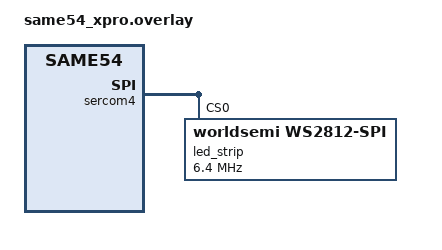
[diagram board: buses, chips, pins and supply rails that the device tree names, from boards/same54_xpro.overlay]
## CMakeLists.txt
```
# SPDX-License-Identifier: Apache-2.0

cmake_minimum_required(VERSION 3.20.0)

find_package(Zephyr REQUIRED HINTS $ENV{ZEPHYR_BASE})
project(led_strip_ws2812)

FILE(GLOB app_sources src/*.c)
target_sources(app PRIVATE ${app_sources})
```

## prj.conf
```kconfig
# Enable GPIO
CONFIG_GPIO=y

# Enable SPI (let devicetree handle the specific driver)
CONFIG_SPI=y

# Enable LED strip driver
CONFIG_LED_STRIP=y

# Thread configuration
CONFIG_NUM_PREEMPT_PRIORITIES=10
CONFIG_MAIN_STACK_SIZE=2048
CONFIG_SYSTEM_WORKQUEUE_STACK_SIZE=2048

# Enable thread monitoring (for debugging)
CONFIG_THREAD_MONITOR=y
CONFIG_THREAD_NAME=y
CONFIG_THREAD_STACK_INFO=y

# Logging - reduced to prevent message drops
CONFIG_LOG=y
CONFIG_LOG_DEFAULT_LEVEL=3
CONFIG_LOG_BUFFER_SIZE=4096
CONFIG_LOG_PROCESS_THREAD_STACK_SIZE=2048

# Math library for sine wave
CONFIG_NEWLIB_LIBC=y
CONFIG_NEWLIB_LIBC_FLOAT_PRINTF=y

# Increase heap if needed
CONFIG_HEAP_MEM_POOL_SIZE=8192

# Random number generator
CONFIG_ENTROPY_GENERATOR=y
CONFIG_TEST_RANDOM_GENERATOR=y

# Shell support for interactive commands
CONFIG_SHELL=y
CONFIG_SHELL_BACKEND_SERIAL=y
CONFIG_SHELL_CMD_BUFF_SIZE=256
CONFIG_SHELL_PRINTF_BUFF_SIZE=256

# Thread runtime statistics
CONFIG_THREAD_RUNTIME_STATS=y
CONFIG_SCHED_THREAD_USAGE=y

# Increased console buffer for shell output
CONFIG_CONSOLE=y
CONFIG_UART_CONSOLE=y
```

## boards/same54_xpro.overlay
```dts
/*
 * WS2812 LED strip overlay for SAM E54 Xplained Pro
 * Uses SPI (SERCOM4) for timing generation
 *
 * SPI Mode 0 (CPOL=0, CPHA=0) ensures MOSI idles LOW
 * which is required for WS2812 communication
 */

#include <zephyr/dt-bindings/led/led.h>

/ {
	aliases {
		led-strip = &led_strip;
	};
};

/* Custom pinctrl to ensure PB27 (MOSI) has no pull-up */
&pinctrl {
	sercom4_spi_ws2812: sercom4_spi_ws2812 {
		group1 {
			pinmux = <PB26D_SERCOM4_PAD1>,  /* SCK */
				 <PB27D_SERCOM4_PAD0>,  /* MOSI - no pull resistor */
				 <PB29D_SERCOM4_PAD3>;  /* MISO */
			/* No bias property = no pull-up/pull-down (default state) */
		};
	};
};

&sercom4 {
	status = "okay";
	compatible = "atmel,sam0-spi";
	dipo = <3>;  /* 0 MISO on PAD3 (PB29) */
	dopo = <0>;  /* 1 MOSI on PAD0 (PB27), SCK on PAD1 (PB26) */
	#address-cells = <1>;
	#size-cells = <0>;

	pinctrl-0 = <&sercom4_spi_ws2812>;
	pinctrl-names = "default";

	led_strip: ws2812@0 {
		compatible = "worldsemi,ws2812-spi";

		reg = <0>;
		spi-max-frequency = <6400000>;  /* 6.4 MHz for WS2812 timing */

		chain-length = <256>;  /* Testing with 5 LEDs first */

		color-mapping = <LED_COLOR_ID_GREEN
				 LED_COLOR_ID_RED
				 LED_COLOR_ID_BLUE>;

		reset-delay = <1000>;

		/* SPI timing frames for WS2812 protocol */
		/* At 6.4MHz: each bit is ~156ns */
		/* WS2812 timing: 0 = 400ns H + 850ns L, 1 = 800ns H + 450ns L */
		/* Standard patterns work correctly - line should idle LOW naturally */
		//spi-one-frame = <0xf0>;   /* 0b11110000: ~625ns high, ~625ns low */
		//spi-zero-frame = <0xc0>;  /* 0b11000000: ~312ns high, ~938ns low */
		spi-one-frame =  <0X78>;   /* 0b11110000: ~625ns high, ~625ns low */
		spi-zero-frame = <0X60>;  /* 0b11000000: ~312ns high, ~938ns low */
	};
};

/* Ensure ports are enabled */
&porta {
    status = "okay";
};

&portb {
    status = "okay";
};
```

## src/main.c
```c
/*
 * Multi-Threaded Quadrant Animation Demo
 *
 * This demo showcases Zephyr RTOS threading concepts through visual animations
 * on a 16x16 WS2812 LED matrix. Perfect for workshops and educational purposes.
 *
 * Features:
 * - 4 independent animation threads (one per quadrant)
 * - Priority-based scheduling visualization
 * - Thread state monitoring via LED borders
 * - Interactive shell commands for runtime control
 * - CPU load simulation
 *
 * To use this demo:
 * 1. Rename this file to main.c (backup your current main.c first)
 * 2. Build and flash to your board
 * 3. Connect via serial terminal (115200 baud)
 * 4. Use shell commands to interact with the demo
 */

#include <zephyr/kernel.h>
#include <zephyr/device.h>
#include <zephyr/logging/log.h>
#include "ws2812.h"
#include "quadrant_simple_test.h"  // Using simple test instead

LOG_MODULE_REGISTER(main, LOG_LEVEL_INF);

int main(void) {
    int ret;

    LOG_INF("===========================================");
    LOG_INF("  Zephyr RTOS Thread Priority Demo");
    LOG_INF("  Board: SAM E54 Xplained Pro");
    LOG_INF("  16x16 WS2812 LED Matrix");
    LOG_INF("===========================================");

    // Initialize WS2812 driver
    ret = ws2812_init();
    if (ret != 0) {
        LOG_ERR("Failed to initialize WS2812: %d", ret);
        return ret;
    }

    // Set brightness to 50% for safety
    ws2812_set_brightness(255);
    LOG_INF("WS2812 initialized (brightness: 50%%)");

    // Clear display
    ws2812_clear();
    ws2812_update();

    // Initialize and start the SIMPLE test (two balls)
    simple_test_init();

    LOG_INF("");
    LOG_INF("Demo running! Press SW0 to change Q1 priority");
    LOG_INF("");

    // Main thread just sleeps
    while (1) {
        k_msleep(60000);  // Just sleep
    }

    return 0;
}
```

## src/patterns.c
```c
#include "ws2812.h"
#include <math.h>
#include <stdlib.h>

#ifndef M_PI
#define M_PI 3.14159265358979323846
#endif

// Pattern 1: Scrolling wave
static int wave_offset = 0;

void pattern_wave(void) {
    for (int y = 0; y < MATRIX_HEIGHT; y++) {
        for (int x = 0; x < MATRIX_WIDTH; x++) {
            // Create sine wave pattern
            int wave_pos = (x + wave_offset) % MATRIX_WIDTH;
            float sine_val = sin(wave_pos * M_PI / 8.0);
            uint8_t brightness = (uint8_t)(128 + 127 * sine_val);

            // Red wave
            rgb_t color = {brightness, brightness, 0};
            ws2812_set_pixel(x, y, color);
        }
    }
    wave_offset = (wave_offset + 1) % MATRIX_WIDTH;
}

// Pattern 2: Bouncing ball
static float ball_x = 8.0, ball_y = 8.0;
static float ball_vx = 0.3, ball_vy = 0.2;

void pattern_ball(void) {
    // Update ball physics
    ball_x += ball_vx;
    ball_y += ball_vy;
    
    // Bounce off walls
    if (ball_x <= 1 || ball_x >= MATRIX_WIDTH - 2) {
        ball_vx = -ball_vx;
        ball_x = (ball_x <= 1) ? 1.1 : MATRIX_WIDTH - 2.1;
    }
    if (ball_y <= 1 || ball_y >= MATRIX_HEIGHT - 2) {
        ball_vy = -ball_vy;
        ball_y = (ball_y <= 1) ? 1.1 : MATRIX_HEIGHT - 2.1;
    }
    
    // Draw ball (3x3 blue)
    for (int dy = -1; dy <= 1; dy++) {
        for (int dx = -1; dx <= 1; dx++) {
            int px = (int)(ball_x + 0.5) + dx;
            int py = (int)(ball_y + 0.5) + dy;

            if (px >= 0 && px < MATRIX_WIDTH && py >= 0 && py < MATRIX_HEIGHT) {
                rgb_t current = ws2812_get_pixel(px, py);
                // Add blue, keep other colors
                current.b = 255;
                ws2812_set_pixel(px, py, current);
            }
        }
    }
}

// Pattern 3: Breathing border
static uint8_t breath_brightness = 0;
static int8_t breath_direction = 1;

void pattern_breath(void) {
    // Update brightness
    breath_brightness += breath_direction * 5;
    
    if (breath_brightness >= 250) {
        breath_brightness = 250;
        breath_direction = -1;
    } else if (breath_brightness <= 5) {
        breath_brightness = 5;
        breath_direction = 1;
    }
    
    // Draw green breathing border
    // Top and bottom edges
    for (int x = 0; x < MATRIX_WIDTH; x++) {
        rgb_t current_top = ws2812_get_pixel(x, 0);
        rgb_t current_bottom = ws2812_get_pixel(x, MATRIX_HEIGHT - 1);

        current_top.g = breath_brightness;
        current_bottom.g = breath_brightness;

        ws2812_set_pixel(x, 0, current_top);
        ws2812_set_pixel(x, MATRIX_HEIGHT - 1, current_bottom);
    }
    
    // Left and right edges
    for (int y = 1; y < MATRIX_HEIGHT - 1; y++) {
        rgb_t current_left = ws2812_get_pixel(0, y);
        rgb_t current_right = ws2812_get_pixel(MATRIX_WIDTH - 1, y);
        
        current_left.g = breath_brightness;
        current_right.g = breath_brightness;
        
        ws2812_set_pixel(0, y, current_left);
        ws2812_set_pixel(MATRIX_WIDTH - 1, y, current_right);
    }
}

// Pattern 4: Random twinkle
void pattern_twinkle(void) {
    // Add random white sparkles
    for (int i = 0; i < 5; i++) {
        int x = rand() % MATRIX_WIDTH;
        int y = rand() % MATRIX_HEIGHT;
        uint8_t brightness = 128 + (rand() % 128);
        
        rgb_t current = ws2812_get_pixel(x, y);
        
        // Add white
        uint8_t add = brightness / 3;
        current.r = (current.r + add > 255) ? 255 : current.r + add;
        current.g = (current.g + add > 255) ? 255 : current.g + add;
        current.b = (current.b + add > 255) ? 255 : current.b + add;
        
        ws2812_set_pixel(x, y, current);
    }
    
    // Fade all pixels
    for (int y = 0; y < MATRIX_HEIGHT; y++) {
        for (int x = 0; x < MATRIX_WIDTH; x++) {
            rgb_t current = ws2812_get_pixel(x, y);
            
            current.r = (uint8_t)(current.r * 0.95);
            current.g = (uint8_t)(current.g * 0.95);
            current.b = (uint8_t)(current.b * 0.95);
            
            ws2812_set_pixel(x, y, current);
        }
    }
}

// ISR Pattern: Flash burst (yellow)
void pattern_flash_burst(void) {
    for (int frame = 0; frame < 10; frame++) {
        uint8_t brightness = 255 - (frame * 25);
        
        k_mutex_lock(&matrix_mutex, K_FOREVER);
        
        // Fill entire matrix with yellow
        for (int y = 0; y < MATRIX_HEIGHT; y++) {
            for (int x = 0; x < MATRIX_WIDTH; x++) {
                rgb_t yellow = {brightness, brightness, 0};
                ws2812_set_pixel(x, y, yellow);
            }
        }
        
        ws2812_update();
        k_mutex_unlock(&matrix_mutex);
        
        k_msleep(30);
    }
}

// Pattern 5: Priority Visualizer
// Each row represents a priority level, shows scheduling activity
#define NUM_PRIORITY_LEVELS 8
static uint8_t priority_activity[NUM_PRIORITY_LEVELS] = {0};
static uint8_t priority_colors[NUM_PRIORITY_LEVELS][3] = {
    {255, 0, 0},     // Priority 0: Red (highest)
    {255, 128, 0},   // Priority 1: Orange
    {255, 255, 0},   // Priority 2: Yellow
    {0, 255, 0},     // Priority 3: Green
    {0, 255, 255},   // Priority 4: Cyan
    {0, 0, 255},     // Priority 5: Blue
    {128, 0, 255},   // Priority 6: Purple
    {255, 0, 255}    // Priority 7: Magenta (lowest)
};

void pattern_priority_visualizer(void) {
    // Simulate thread activity at different priority levels
    // In a real implementation, this would read actual thread states

    // Decay existing activity
    for (int p = 0; p < NUM_PRIORITY_LEVELS; p++) {
        if (priority_activity[p] > 0) {
            priority_activity[p] = (uint8_t)(priority_activity[p] * 0.9);
        }
    }

    // Simulate random thread wakeups at different priorities
    // Higher priority threads are more active (lower numbers = higher priority)
    for (int p = 0; p < NUM_PRIORITY_LEVELS; p++) {
        // Higher priority = more likely to be active
        int threshold = 50 + (p * 30);  // 50, 80, 110, 140, etc.
        if ((rand() % 255) > threshold) {
            priority_activity[p] = 255;
        }
    }

    // Draw visualization: each row represents a priority
    // Two rows per priority level for 16-row matrix
    for (int p = 0; p < NUM_PRIORITY_LEVELS; p++) {
        int row1 = p * 2;
        int row2 = p * 2 + 1;

        if (row1 >= MATRIX_HEIGHT) break;

        // Create moving bar effect based on activity
        uint8_t brightness = priority_activity[p];
        int bar_length = (brightness * MATRIX_WIDTH) / 255;

        for (int x = 0; x < MATRIX_WIDTH; x++) {
            rgb_t color;
            if (x < bar_length) {
                // Active portion - full color
                color.r = (priority_colors[p][0] * brightness) / 255;
                color.g = (priority_colors[p][1] * brightness) / 255;
                color.b = (priority_colors[p][2] * brightness) / 255;
            } else {
                // Inactive portion - dim
                color.r = priority_colors[p][0] / 10;
                color.g = priority_colors[p][1] / 10;
                color.b = priority_colors[p][2] / 10;
            }

            ws2812_set_pixel(x, row1, color);
            if (row2 < MATRIX_HEIGHT) {
                ws2812_set_pixel(x, row2, color);
            }
        }
    }
}

// Pattern 6: Rainbow Sweep
// Simple rainbow gradient that scrolls horizontally
static int rainbow_offset = 0;

// Helper function: Convert HSV to RGB
// H: 0-255, S: 0-255, V: 0-255
rgb_t hsv_to_rgb(uint8_t h, uint8_t s, uint8_t v) {
    rgb_t rgb;
    uint8_t region, remainder, p, q, t;

    if (s == 0) {
        rgb.r = v;
        rgb.g = v;
        rgb.b = v;
        return rgb;
    }

    region = h / 43;
    remainder = (h - (region * 43)) * 6;

    p = (v * (255 - s)) >> 8;
    q = (v * (255 - ((s * remainder) >> 8))) >> 8;
    t = (v * (255 - ((s * (255 - remainder)) >> 8))) >> 8;

    switch (region) {
        case 0:
            rgb.r = v; rgb.g = t; rgb.b = p;
            break;
        case 1:
            rgb.r = q; rgb.g = v; rgb.b = p;
            break;
        case 2:
            rgb.r = p; rgb.g = v; rgb.b = t;
            break;
        case 3:
            rgb.r = p; rgb.g = q; rgb.b = v;
            break;
        case 4:
            rgb.r = t; rgb.g = p; rgb.b = v;
            break;
        default:
            rgb.r = v; rgb.g = p; rgb.b = q;
            break;
    }

    return rgb;
}

void pattern_rainbow_sweep(void) {
    // Fill entire matrix with rainbow gradient
    for (int y = 0; y < MATRIX_HEIGHT; y++) {
        for (int x = 0; x < MATRIX_WIDTH; x++) {
            // Calculate hue based on x position and offset
            // Each column gets a different color from the rainbow
            uint8_t hue = ((x * 255) / MATRIX_WIDTH + rainbow_offset) % 256;

            // Convert HSV to RGB (full saturation and value)
            rgb_t color = hsv_to_rgb(hue, 255, 255);

            ws2812_set_pixel(x, y, color);
        }
    }

    // Scroll the rainbow to the right
    rainbow_offset = (rainbow_offset + 2) % 256;
}
```

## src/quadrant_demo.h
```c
#ifndef QUADRANT_DEMO_H
#define QUADRANT_DEMO_H

#include <zephyr/kernel.h>
#include <zephyr/shell/shell.h>
#include "ws2812.h"

// Quadrant definitions for 16x16 matrix
#define QUAD_WIDTH  8
#define QUAD_HEIGHT 8

// Thread priorities (lower number = higher priority in Zephyr)
#define PRIORITY_QUAD1 5  // High priority - smooth wave
#define PRIORITY_QUAD2 3  // Medium-high - bouncing ball
#define PRIORITY_QUAD3 7  // Low priority - rotating spiral
#define PRIORITY_QUAD4 1  // Lowest - random sparkles
#define PRIORITY_MONITOR 4  // Thread state monitor
#define PRIORITY_DISPLAY 6  // Display update thread

// Thread states for visualization
typedef enum {
    THREAD_STATE_RUNNING = 0,   // Green
    THREAD_STATE_READY = 1,     // Yellow
    THREAD_STATE_SLEEPING = 2,  // Red
    THREAD_STATE_SUSPENDED = 3  // Blue
} thread_state_viz_t;

// Quadrant animation functions
void quadrant1_wave_animation(void);
void quadrant2_bounce_animation(void);
void quadrant3_spiral_animation(void);
void quadrant4_sparkle_animation(void);

// Thread state monitoring
void update_thread_state_border(void);
thread_state_viz_t get_thread_state(struct k_thread *thread);

// Thread entry points
void quad1_thread_entry(void *a, void *b, void *c);
void quad2_thread_entry(void *a, void *b, void *c);
void quad3_thread_entry(void *a, void *b, void *c);
void quad4_thread_entry(void *a, void *b, void *c);
void monitor_thread_entry(void *a, void *b, void *c);
void display_thread_entry(void *a, void *b, void *c);

// Shell command handlers
int cmd_thread_suspend(const struct shell *sh, size_t argc, char **argv);
int cmd_thread_resume(const struct shell *sh, size_t argc, char **argv);
int cmd_thread_stats(const struct shell *sh, size_t argc, char **argv);
int cmd_thread_boost(const struct shell *sh, size_t argc, char **argv);
int cmd_cpu_load(const struct shell *sh, size_t argc, char **argv);

// External thread references for shell commands
extern struct k_thread quad1_thread_data;
extern struct k_thread quad2_thread_data;
extern struct k_thread quad3_thread_data;
extern struct k_thread quad4_thread_data;

// Thread state tracking
extern volatile bool thread_running[4];
extern volatile uint32_t thread_cycle_count[4];

// CPU load simulation
extern volatile bool cpu_load_active;

// Main initialization function
void quadrant_demo_init(void);

#endif /* QUADRANT_DEMO_H */
```

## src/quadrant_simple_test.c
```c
/*
 * Simple Single Quadrant Test - Based on working pattern_ball
 * Tests one bouncing ball in Quadrant 1 only
 * Now with SW0 button to cycle thread priorities!
 */

#include "quadrant_demo.h"
#include <zephyr/logging/log.h>
#include <zephyr/device.h>
#include <zephyr/devicetree.h>
#include <zephyr/drivers/gpio.h>
#include <math.h>

LOG_MODULE_REGISTER(quad_simple, LOG_LEVEL_INF);

// Button configuration - SW0 on SAM E54 Xplained Pro
#define SW0_NODE DT_ALIAS(sw0)
#if DT_NODE_HAS_STATUS(SW0_NODE, okay)
static const struct gpio_dt_spec button = GPIO_DT_SPEC_GET(SW0_NODE, gpios);
static struct gpio_callback button_cb_data;

// Priority cycling - Zephyr uses lower numbers for higher priority
// We'll cycle through: 2 (highest), 4 (high), 6 (medium), 8 (low)
static const int priority_levels[] = {2, 4, 6, 8};
static const char *priority_names[] = {"HIGHEST", "HIGH", "MEDIUM", "LOW"};
static const float speed_levels[] = {1.5f, 1.0f, 0.8f, 1.2f};  // Match Q2, unique, Q3, Q4 speeds
static int current_priority_index = 1;  // Start at priority 4 (HIGH)
static volatile bool priority_changed = false;

// Button press handler
void button_pressed(const struct device *dev, struct gpio_callback *cb, uint32_t pins)
{
    // Cycle to next priority level
    current_priority_index = (current_priority_index + 1) % 4;
    priority_changed = true;
    LOG_INF("Button pressed! Switching to priority %s (%d)",
            priority_names[current_priority_index],
            priority_levels[current_priority_index]);
}
#endif

// Simple ball states for quadrant 1 and 2 (no trail buffer)
static float ball1_x = 4.0f;
static float ball1_y = 4.0f;
static float ball1_vx = 0.3f;
static float ball1_vy = 0.25f;
static float ball1_speed = 1.0f;  // Speed multiplier (1.0 = normal)

static float ball2_x = 4.0f;
static float ball2_y = 4.0f;
static float ball2_vx = 0.3f;
static float ball2_vy = 0.25f;
static float ball2_speed = 1.5f;  // 1.5x faster

static float ball3_x = 4.0f;
static float ball3_y = 4.0f;
static float ball3_vx = 0.3f;
static float ball3_vy = 0.25f;
static float ball3_speed = 0.8f;  // 0.8x speed (slower)

static float ball4_x = 4.0f;
static float ball4_y = 4.0f;
static float ball4_vx = 0.3f;
static float ball4_vy = 0.25f;
static float ball4_speed = 1.2f;  // 1.2x faster

// Quadrant colors (rgb_t struct is {g, r, b} order, but LEDs expect BGR order)
// To get specific colors with BGR LEDs: B=1st byte, G=2nd byte, R=3rd byte
// So rgb_t{g, r, b} where r displays as green, b displays as red, g displays as blue
static rgb_t get_priority_color(int priority_level) {
    // Q1 uses priority level 2/4/6/8 to get dynamic colors based on button presses
    // Q2, Q3, Q4 use fixed values (10, 11, 12) to get their static colors
    const rgb_t colors[] = {
        {0, 0, 0},         // 0: Not used
        {0, 0, 0},         // 1: Not used
        {32, 32, 0},       // 2: Q1 at HIGHEST - CYAN {g=32(blue), r=32(green), b=0(red)} = CYAN on display
        {0, 0, 0},         // 3: Not used
        {0, 64, 0},        // 4: Q1 at HIGH - GREEN {g=0(blue), r=64(green), b=0(red)} = GREEN on display
        {0, 0, 0},         // 5: Not used
        {0, 32, 32},       // 6: Q1 at MEDIUM - YELLOW {g=0(blue), r=32(green), b=32(red)} = YELLOW on display
        {0, 0, 0},         // 7: Not used
        {0, 0, 64},        // 8: Q1 at LOW - RED {g=0(blue), r=0(green), b=64(red)} = RED on display
        {0, 0, 0},         // 9: Not used
        {32, 32, 0},       // 10: Q2 - CYAN (matches Q1 highest) {g=32(blue), r=32(green), b=0(red)} = CYAN on display
        {0, 32, 32},       // 11: Q3 - YELLOW {g=0(blue), r=32(green), b=32(red)} = YELLOW on display
        {64, 0, 0},        // 12: Q4 - BLUE {g=64(blue), r=0(green), b=0(red)} = BLUE on display
    };

    if (priority_level >= 0 && priority_level < 13) {
        return colors[priority_level];
    }
    return colors[0];
}

void simple_quad1_animation(int priority) {
    // Update physics with speed multiplier
    ball1_x += ball1_vx * ball1_speed;
    ball1_y += ball1_vy * ball1_speed;

    // Bounce off quadrant walls (8x8, ball is 2x2 so max is 6.0)
    if (ball1_x <= 0.5f || ball1_x >= 6.5f) {
        ball1_vx = -ball1_vx;
        ball1_x = (ball1_x <= 0.5f) ? 0.6f : 6.4f;
    }
    if (ball1_y <= 0.5f || ball1_y >= 6.5f) {
        ball1_vy = -ball1_vy;
        ball1_y = (ball1_y <= 0.5f) ? 0.6f : 6.4f;
    }

    // Get color based on priority
    rgb_t ball_color = get_priority_color(priority);

    // Clear ONLY the old ball position (4 pixels) instead of entire quadrant
    // This prevents overwriting other quadrants when we call ws2812_update()
    static int last_x = -1, last_y = -1;
    if (last_x >= 0) {
        for (int dy = 0; dy <= 1; dy++) {
            for (int dx = 0; dx <= 1; dx++) {
                int px = last_x + dx;
                int py = last_y + dy;
                if (px >= 0 && px < 8 && py >= 0 && py < 8) {
                    ws2812_set_pixel(px, py, (rgb_t){0, 0, 0});
                }
            }
        }
    }
    last_x = (int)(ball1_x);
    last_y = (int)(ball1_y);

    // Draw ball (2x2) in quadrant 1
    for (int dy = 0; dy <= 1; dy++) {
        for (int dx = 0; dx <= 1; dx++) {
            int px = (int)(ball1_x) + dx;
            int py = (int)(ball1_y) + dy;

            if (px >= 0 && px < 8 && py >= 0 && py < 8) {
                ws2812_set_pixel(px, py, ball_color);
            }
        }
    }
}

void simple_quad2_animation(int priority) {
    // Update physics with speed multiplier
    ball2_x += ball2_vx * ball2_speed;
    ball2_y += ball2_vy * ball2_speed;

    // Bounce off quadrant walls (8x8, ball is 2x2 so max is 6.0)
    if (ball2_x <= 0.5f || ball2_x >= 6.5f) {
        ball2_vx = -ball2_vx;
        ball2_x = (ball2_x <= 0.5f) ? 0.6f : 6.4f;
    }
    if (ball2_y <= 0.5f || ball2_y >= 6.5f) {
        ball2_vy = -ball2_vy;
        ball2_y = (ball2_y <= 0.5f) ? 0.6f : 6.4f;
    }

    // Get color based on priority
    rgb_t ball_color = get_priority_color(priority);

    // Clear ONLY the old ball position (4 pixels) instead of entire quadrant
    // This prevents overwriting other quadrants when we call ws2812_update()
    static int last_x = -1, last_y = -1;
    if (last_x >= 0) {
        for (int dy = 0; dy <= 1; dy++) {
            for (int dx = 0; dx <= 1; dx++) {
                int px = last_x + dx + 8;
                int py = last_y + dy;
                if (px >= 8 && px < 16 && py >= 0 && py < 8) {
                    ws2812_set_pixel(px, py, (rgb_t){0, 0, 0});
                }
            }
        }
    }
    last_x = (int)(ball2_x);
    last_y = (int)(ball2_y);

    // Draw ball (2x2) in quadrant 2
    for (int dy = 0; dy <= 1; dy++) {
        for (int dx = 0; dx <= 1; dx++) {
            int px = (int)(ball2_x) + dx + 8;  // +8 offset for quadrant 2
            int py = (int)(ball2_y) + dy;

            if (px >= 8 && px < 16 && py >= 0 && py < 8) {
                ws2812_set_pixel(px, py, ball_color);
            }
        }
    }
}

void simple_quad3_animation(int priority) {
    // Update physics with speed multiplier
    ball3_x += ball3_vx * ball3_speed;
    ball3_y += ball3_vy * ball3_speed;

    // Bounce off quadrant walls (8x8, ball is 2x2 so max is 6.0)
    if (ball3_x <= 0.5f || ball3_x >= 6.5f) {
        ball3_vx = -ball3_vx;
        ball3_x = (ball3_x <= 0.5f) ? 0.6f : 6.4f;
    }
    if (ball3_y <= 0.5f || ball3_y >= 6.5f) {
        ball3_vy = -ball3_vy;
        ball3_y = (ball3_y <= 0.5f) ? 0.6f : 6.4f;
    }

    // Get color based on priority
    rgb_t ball_color = get_priority_color(priority);

    // Clear ONLY the old ball position (4 pixels) instead of entire quadrant
    // This prevents overwriting other quadrants when we call ws2812_update()
    static int last_x = -1, last_y = -1;
    if (last_x >= 0) {
        for (int dy = 0; dy <= 1; dy++) {
            for (int dx = 0; dx <= 1; dx++) {
                int px = last_x + dx;
                int py = last_y + dy + 8;
                if (px >= 0 && px < 8 && py >= 8 && py < 16) {
                    ws2812_set_pixel(px, py, (rgb_t){0, 0, 0});
                }
            }
        }
    }
    last_x = (int)(ball3_x);
    last_y = (int)(ball3_y);

    // Draw ball (2x2) in quadrant 3
    for (int dy = 0; dy <= 1; dy++) {
        for (int dx = 0; dx <= 1; dx++) {
            int px = (int)(ball3_x) + dx;  // No x offset for left side
            int py = (int)(ball3_y) + dy + 8;  // +8 offset for bottom half

            if (px >= 0 && px < 8 && py >= 8 && py < 16) {
                ws2812_set_pixel(px, py, ball_color);
            }
        }
    }
}

void simple_quad4_animation(int priority) {
    // Update physics with speed multiplier
    ball4_x += ball4_vx * ball4_speed;
    ball4_y += ball4_vy * ball4_speed;

    // Bounce off quadrant walls (8x8, ball is 2x2 so max is 6.0)
    if (ball4_x <= 0.5f || ball4_x >= 6.5f) {
        ball4_vx = -ball4_vx;
        ball4_x = (ball4_x <= 0.5f) ? 0.6f : 6.4f;
    }
    if (ball4_y <= 0.5f || ball4_y >= 6.5f) {
        ball4_vy = -ball4_vy;
        ball4_y = (ball4_y <= 0.5f) ? 0.6f : 6.4f;
    }

    // Get color based on priority
    rgb_t ball_color = get_priority_color(priority);

    // Clear ONLY the old ball position (4 pixels) instead of entire quadrant
    // This prevents overwriting other quadrants when we call ws2812_update()
    static int last_x = -1, last_y = -1;
    if (last_x >= 0) {
        for (int dy = 0; dy <= 1; dy++) {
            for (int dx = 0; dx <= 1; dx++) {
                int px = last_x + dx + 8;
                int py = last_y + dy + 8;
                if (px >= 8 && px < 16 && py >= 8 && py < 16) {
                    ws2812_set_pixel(px, py, (rgb_t){0, 0, 0});
                }
            }
        }
    }
    last_x = (int)(ball4_x);
    last_y = (int)(ball4_y);

    // Draw ball (2x2) in quadrant 4
    for (int dy = 0; dy <= 1; dy++) {
        for (int dx = 0; dx <= 1; dx++) {
            int px = (int)(ball4_x) + dx + 8;  // +8 x offset for right side
            int py = (int)(ball4_y) + dy + 8;  // +8 y offset for bottom half

            if (px >= 8 && px < 16 && py >= 8 && py < 16) {
                ws2812_set_pixel(px, py, ball_color);
            }
        }
    }
}

// Quadrant 1 thread
K_THREAD_STACK_DEFINE(simple_quad1_stack, 1024);
struct k_thread simple_quad1_thread_data;

void simple_quad1_thread_entry(void *a, void *b, void *c) {
    LOG_INF("Quadrant 1 thread started - priority demo ball");

    while (1) {
        // Check if priority changed and update this thread's priority AND speed
        if (priority_changed) {
            k_thread_priority_set(k_current_get(), priority_levels[current_priority_index]);
            ball1_speed = speed_levels[current_priority_index];  // Update speed to match priority

            // Copy position and velocity from matching quadrant
            switch (priority_levels[current_priority_index]) {
                case 2:  // Match Q2
                    ball1_x = ball2_x;
                    ball1_y = ball2_y;
                    ball1_vx = ball2_vx;
                    ball1_vy = ball2_vy;
                    break;
                case 6:  // Match Q3
                    ball1_x = ball3_x;
                    ball1_y = ball3_y;
                    ball1_vx = ball3_vx;
                    ball1_vy = ball3_vy;
                    break;
                case 8:  // Match Q4
                    ball1_x = ball4_x;
                    ball1_y = ball4_y;
                    ball1_vx = ball4_vx;
                    ball1_vy = ball4_vy;
                    break;
                // Priority 4 keeps its own unique pattern
            }

            priority_changed = false;  // Reset flag after applying
            LOG_INF("Q1 now at priority %s (%d), speed %.1fx - watch the ball color and speed change!",
                    priority_names[current_priority_index],
                    priority_levels[current_priority_index],
                    ball1_speed);
        }

        k_mutex_lock(&matrix_mutex, K_FOREVER);
        // Pass current priority level to animation for dynamic color
        simple_quad1_animation(priority_levels[current_priority_index]);
        // Display thread handles ws2812_update() now
        k_mutex_unlock(&matrix_mutex);
        k_msleep(50);  // 20 FPS - speed controlled by ball1_speed multiplier
    }
}

// Quadrant 2 thread
K_THREAD_STACK_DEFINE(simple_quad2_stack, 1024);
struct k_thread simple_quad2_thread_data;

void simple_quad2_thread_entry(void *a, void *b, void *c) {
    LOG_INF("Quadrant 2 thread started - fixed priority (highest=2)");

    while (1) {
        k_mutex_lock(&matrix_mutex, K_FOREVER);
        simple_quad2_animation(10);  // Fixed cyan color (index 10)
        // Display thread handles ws2812_update() now
        k_mutex_unlock(&matrix_mutex);
        k_msleep(50);  // 20 FPS - speed controlled by ball2_speed multiplier
    }
}

// Quadrant 3 thread
K_THREAD_STACK_DEFINE(simple_quad3_stack, 1024);
struct k_thread simple_quad3_thread_data;

void simple_quad3_thread_entry(void *a, void *b, void *c) {
    LOG_INF("Quadrant 3 thread started - fixed priority (medium=6)");

    while (1) {
        k_mutex_lock(&matrix_mutex, K_FOREVER);
        simple_quad3_animation(11);  // Fixed yellow color (index 11)
        // Display thread handles ws2812_update() now
        k_mutex_unlock(&matrix_mutex);
        k_msleep(50);  // 20 FPS - speed controlled by ball3_speed multiplier
    }
}

// Quadrant 4 thread
K_THREAD_STACK_DEFINE(simple_quad4_stack, 1024);
struct k_thread simple_quad4_thread_data;

void simple_quad4_thread_entry(void *a, void *b, void *c) {
    LOG_INF("Quadrant 4 thread started - fixed priority (lowest=8)");

    while (1) {
        k_mutex_lock(&matrix_mutex, K_FOREVER);
        simple_quad4_animation(12);  // Fixed blue color (index 12)
        // Display thread handles ws2812_update() now
        k_mutex_unlock(&matrix_mutex);
        k_msleep(50);  // 20 FPS - speed controlled by ball4_speed multiplier
    }
}

// Display thread - handles all LED refreshes at fixed rate
K_THREAD_STACK_DEFINE(display_stack, 1024);
struct k_thread display_thread_data;

void display_thread_entry(void *a, void *b, void *c) {
    LOG_INF("Display thread started - 50 FPS refresh");

    while (1) {
        k_mutex_lock(&matrix_mutex, K_FOREVER);
        ws2812_update();  // Refresh LEDs with current buffer contents
        k_mutex_unlock(&matrix_mutex);
        k_msleep(20);  // 50 FPS (20ms per frame)
    }
}

void simple_test_init(void) {
    LOG_INF("===========================================");
    LOG_INF("  Zephyr Thread Priority Demo");
    LOG_INF("===========================================");
    LOG_INF("Q1 (Top-Left):     VARIABLE priority (button controlled)");
    LOG_INF("                   Color changes with priority:");
    LOG_INF("                   CYAN(2) GREEN(4) YELLOW(6) RED(8)");
    LOG_INF("Q2 (Top-Right):    HIGHEST priority (2) - CYAN");
    LOG_INF("Q3 (Bottom-Left):  MEDIUM priority (6) - YELLOW");
    LOG_INF("Q4 (Bottom-Right): LOWEST priority (8) - BLUE");
    LOG_INF("");
    LOG_INF("Press SW0 to cycle Q1 priority and color:");
    LOG_INF("  CYAN(2) -> GREEN(4) -> YELLOW(6) -> RED(8)");
    LOG_INF("Watch Q1 change color and smoothness!");
    LOG_INF("===========================================");

#if DT_NODE_HAS_STATUS(SW0_NODE, okay)
    // Initialize button
    int ret;

    if (!gpio_is_ready_dt(&button)) {
        LOG_ERR("Button device not ready");
    } else {
        ret = gpio_pin_configure_dt(&button, GPIO_INPUT);
        if (ret != 0) {
            LOG_ERR("Error %d: failed to configure button pin", ret);
        } else {
            ret = gpio_pin_interrupt_configure_dt(&button, GPIO_INT_EDGE_TO_ACTIVE);
            if (ret != 0) {
                LOG_ERR("Error %d: failed to configure button interrupt", ret);
            } else {
                gpio_init_callback(&button_cb_data, button_pressed, BIT(button.pin));
                gpio_add_callback(button.port, &button_cb_data);
                LOG_INF("SW0 button configured successfully!");
            }
        }
    }
#else
    LOG_WRN("SW0 button not available in device tree");
#endif

    // Clear entire matrix first
    k_mutex_lock(&matrix_mutex, K_FOREVER);
    ws2812_clear();
    k_mutex_unlock(&matrix_mutex);

    // Create quadrant 1 thread - Variable priority (starts at HIGH = 4)
    k_thread_create(&simple_quad1_thread_data, simple_quad1_stack, 1024,
                    simple_quad1_thread_entry, NULL, NULL, NULL,
                    4, 0, K_NO_WAIT);  // Start at HIGH priority
    k_thread_name_set(&simple_quad1_thread_data, "quad1");

    // Create quadrant 2 thread - Fixed HIGH priority (2)
    k_thread_create(&simple_quad2_thread_data, simple_quad2_stack, 1024,
                    simple_quad2_thread_entry, NULL, NULL, NULL,
                    2, 0, K_NO_WAIT);  // Highest - always fast
    k_thread_name_set(&simple_quad2_thread_data, "quad2");

    // Create quadrant 3 thread - Fixed MEDIUM priority (6)
    k_thread_create(&simple_quad3_thread_data, simple_quad3_stack, 1024,
                    simple_quad3_thread_entry, NULL, NULL, NULL,
                    6, 0, K_NO_WAIT);  // Medium speed
    k_thread_name_set(&simple_quad3_thread_data, "quad3");

    // Create quadrant 4 thread - Fixed LOW priority (8)
    k_thread_create(&simple_quad4_thread_data, simple_quad4_stack, 1024,
                    simple_quad4_thread_entry, NULL, NULL, NULL,
                    8, 0, K_NO_WAIT);  // Lowest - slowest
    k_thread_name_set(&simple_quad4_thread_data, "quad4");

    // Create display thread - HIGHEST priority (1) so it always gets to refresh
    k_thread_create(&display_thread_data, display_stack, 1024,
                    display_thread_entry, NULL, NULL, NULL,
                    1, 0, K_NO_WAIT);  // Priority 1 - highest, ensures consistent refresh
    k_thread_name_set(&display_thread_data, "display");

    LOG_INF("Simple test running - 4 animation threads + 1 display thread!");
}
```

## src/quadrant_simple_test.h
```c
#ifndef QUADRANT_SIMPLE_TEST_H
#define QUADRANT_SIMPLE_TEST_H

void simple_test_init(void);

#endif
```

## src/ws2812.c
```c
#include "ws2812.h"
#include <zephyr/device.h>
#include <zephyr/drivers/spi.h>
#include <zephyr/logging/log.h>

LOG_MODULE_REGISTER(ws2812, LOG_LEVEL_INF);

// LED buffer
static rgb_t led_buffer[NUM_LEDS];

// Global brightness control (0-255, where 255 = full brightness)
static uint8_t global_brightness = 255;  // Start at 25% brightness for testing

// Mutex for thread-safe access
K_MUTEX_DEFINE(matrix_mutex);

// SPI device
static const struct device *spi_dev;
static struct spi_config spi_cfg = {
    .frequency = 6400000,  // 6.4 MHz for WS2812 timing
    .operation = SPI_WORD_SET(8) | SPI_TRANSFER_MSB | SPI_OP_MODE_MASTER,
    .slave = 0,
    .cs = {
        .gpio = {0},
        .delay = 0,
    },
};

// WS2812 bit patterns using SPI
// At 6.4MHz SPI: each bit is ~156ns
// WS2812 timing: 0 = 400ns H + 850ns L, 1 = 800ns H + 450ns L
// Using SPI_MODE_CPOL to invert clock and hopefully MOSI idle state
#define WS2812_0 0xC0  // Binary: 11000000 (~312ns high, ~938ns low)
#define WS2812_1 0xF0  // Binary: 11110000 (~625ns high, ~625ns low)

int ws2812_init(void) {
    spi_dev = DEVICE_DT_GET(DT_NODELABEL(sercom4));

    if (!device_is_ready(spi_dev)) {
        LOG_ERR("SPI device not ready");
        return -ENODEV;
    }

    LOG_INF("WS2812 driver initialized on SERCOM4 - Direct SPI");

    ws2812_clear();
    ws2812_update();
    return 0;
}

void ws2812_set_pixel(uint8_t x, uint8_t y, rgb_t color) {
    if (x >= MATRIX_WIDTH || y >= MATRIX_HEIGHT) return;

    // Convert x,y to linear index
    // Assumes zigzag wiring pattern - adjust based on your matrix
    uint16_t index;
    if (y % 2 == 0) {
        // Even rows: left to right
        index = y * MATRIX_WIDTH + x;
    } else {
        // Odd rows: right to left (zigzag)
        index = y * MATRIX_WIDTH + (MATRIX_WIDTH - 1 - x);
    }

    // Compensate for bad LED at position 0 by shifting left
    // Physical LED 0 is bad, so we skip it: write to index-1 in buffer
    // This way: buffer[0]→LED 1, buffer[1]→LED 2, etc.
    if (index > 0) {
        index = index - 1;
    } else {
        // index 0 would go to bad LED, skip it
        return;
    }

    // Safety check - with shift, we can only address NUM_LEDS-1
    if(index >= NUM_LEDS - 1) {
        LOG_WRN("Pixel write overflow: x=%d, y=%d, index=%d (limit=%d)", x, y, index, NUM_LEDS-1);
        return;
    }

    led_buffer[index] = color;
}

rgb_t ws2812_get_pixel(uint8_t x, uint8_t y) {
    if (x >= MATRIX_WIDTH || y >= MATRIX_HEIGHT) {
        return (rgb_t){0, 0, 0};
    }

    uint16_t index;
    if (y % 2 == 0) {
        index = y * MATRIX_WIDTH + x;
    } else {
        index = y * MATRIX_WIDTH + (MATRIX_WIDTH - 1 - x);
    }

    // Apply same shift as set_pixel
    if (index > 0) {
        index = index - 1;
    } else {
        return (rgb_t){0, 0, 0};
    }

    if(index >= NUM_LEDS) return (rgb_t){0, 0, 0};

    return led_buffer[index];
}

void ws2812_clear(void) {
    memset(led_buffer, 0, sizeof(led_buffer));
}

void ws2812_update(void) {
    // Each WS2812 color byte (8 bits) becomes 8 SPI bytes
    // Since we shift left by 1, we only use NUM_LEDS-1 actual LEDs (255 LEDs)
    // 255 LEDs * 3 colors * 8 SPI bytes per color byte = 6120 bytes
    // Add leading zeros to force line LOW and ensure proper alignment
    // Add trailing zeros at the end to ensure line idles LOW during reset
    static uint8_t spi_buf[24 + (NUM_LEDS - 1) * 3 * 8 + 8];  // +24 leading zeros
    uint16_t spi_idx = 0;

  // Add trailing zeros to force line LOW during reset
    for (int i = 0; i < 8; i++) {
        spi_buf[spi_idx++] = 0x00;
    }
    // Convert RGB buffer to SPI timing pattern
    // Note: Bad LED compensation is now handled in ws2812_set_pixel() by shifting left when writing
    // Since we shift left, the last LED (index NUM_LEDS-1) is never written to, so only send NUM_LEDS-1
    for (int i = 0; i < NUM_LEDS - 1; i++) {
        // Compensate for byte-level shift: rotate color order by sending GRB instead of BGR
        // This compensates for the SPI idle-high causing a bit/byte shift at second LED
        uint8_t colors[3] = {
            (led_buffer[i].g * global_brightness) / 255,  // G first (was B)
            (led_buffer[i].r * global_brightness) / 255,  // R second (was G)
            (led_buffer[i].b * global_brightness) / 255   // B third (was R)
        };

        LOG_DBG("LED %d: B=%d G=%d R=%d", i, colors[0], colors[1], colors[2]);

        // Convert each color byte to SPI bits
        for (int c = 0; c < 3; c++) {
            for (int bit = 7; bit >= 0; bit--) {
                spi_buf[spi_idx++] = (colors[c] & (1 << bit)) ? WS2812_1 : WS2812_0;
            }
        }
    }

    // Add trailing zeros to force line LOW during reset
    for (int i = 0; i < 8; i++) {
        spi_buf[spi_idx++] = 0x00;
    }

    // Send via SPI
    const struct spi_buf tx_buf = {
        .buf = spi_buf,
        .len = sizeof(spi_buf)
    };
    const struct spi_buf_set tx = {
        .buffers = &tx_buf,
        .count = 1
    };

    int ret = spi_write(spi_dev, &spi_cfg, &tx);
    if (ret < 0) {
        LOG_ERR("SPI write failed: %d", ret);
    } else {
        LOG_DBG("SPI write OK - sent %d bytes", sizeof(spi_buf));
    }

    // WS2812 needs >50us reset time (line will idle at last bit = 0)
    k_usleep(60);
    
}


void ws2812_set_brightness(uint8_t brightness) {
    global_brightness = brightness;
}
```

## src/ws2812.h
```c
#ifndef WS2812_H
#define WS2812_H

#include <zephyr/kernel.h>

#define MATRIX_WIDTH  16
#define MATRIX_HEIGHT 16
#define NUM_LEDS (MATRIX_WIDTH * MATRIX_HEIGHT)

typedef struct {
    uint8_t g;
    uint8_t r;
    uint8_t b;
} rgb_t;

// Initialize WS2812 driver
int ws2812_init(void);

// Set a single pixel (x, y, color)
void ws2812_set_pixel(uint8_t x, uint8_t y, rgb_t color);

// Get pixel color
rgb_t ws2812_get_pixel(uint8_t x, uint8_t y);

// Clear all pixels
void ws2812_clear(void);

// Send buffer to LEDs (call this to update display)
void ws2812_update(void);

// Set global brightness (0-255, where 255 = full brightness)
void ws2812_set_brightness(uint8_t brightness);

// Mutex for thread-safe access
extern struct k_mutex matrix_mutex;

#endif /* WS2812_H */
```
